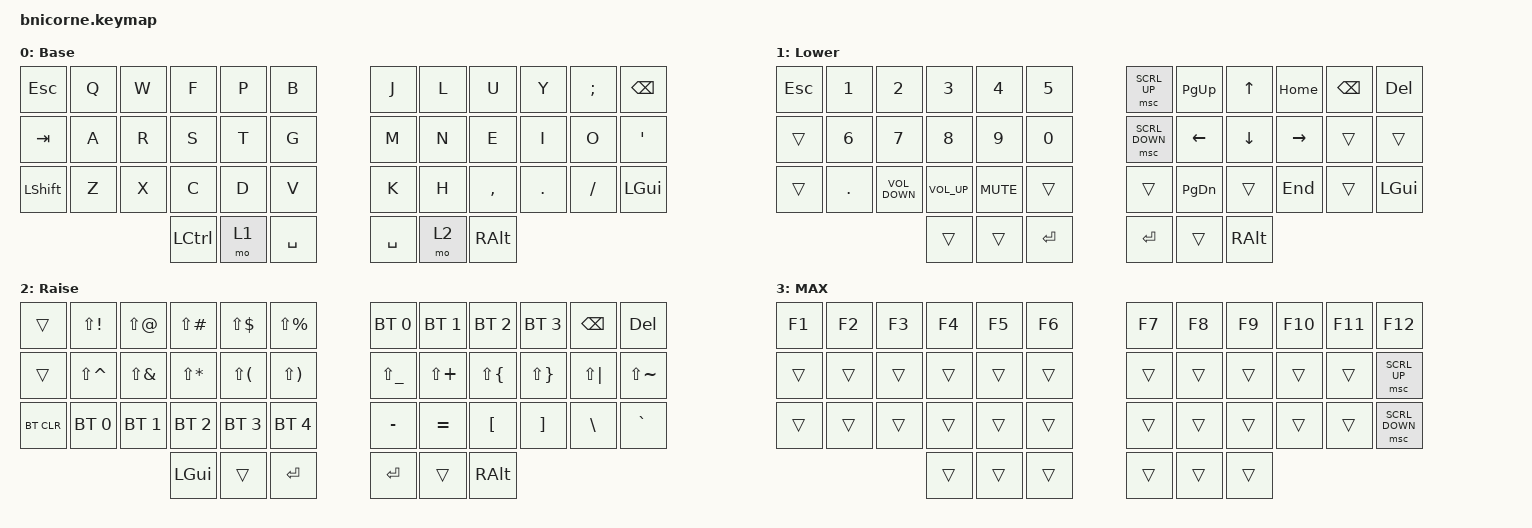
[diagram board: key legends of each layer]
/*
 * Copyright (c) 2020 The ZMK Contributors
 *
 * SPDX-License-Identifier: MIT
 */

#include <behaviors.dtsi>
#include <dt-bindings/zmk/bt.h>
#include <dt-bindings/zmk/keys.h>
#include <dt-bindings/zmk/pointing.h>

/ {
    /* This block enables Lower + Raise = Max_Layer automatically */
    conditional_layers {
        compatible = "zmk,conditional-layers";
        tri_layer {
            if-layers = <1 2>;
            then-layer = <3>;
        };
    };

    keymap {
        compatible = "zmk,keymap";

        default_layer {
            display-name = "Base";
            bindings = <
&kp ESC    &kp Q  &kp W  &kp F             &kp P  &kp B        &kp J      &kp L  &kp U      &kp Y    &kp SEMI  &kp BSPC
&kp TAB    &kp A  &kp R  &kp S             &kp T  &kp G        &kp M      &kp N  &kp E      &kp I    &kp O     &kp SQT
&kp LSHFT  &kp Z  &kp X  &kp C             &kp D  &kp V        &kp K      &kp H  &kp COMMA  &kp DOT  &kp FSLH  &kp LGUI
                         &kp LEFT_CONTROL  &mo 1  &kp SPACE    &kp SPACE  &mo 2  &kp RALT
            >;
        };

        lower_layer {
            display-name = "Lower";
            bindings = <
&kp ESC  &kp N1   &kp N2             &kp N3            &kp N4       &kp N5       &msc SCRL_UP    &kp PG_UP  &kp UP    &kp HOME   &kp BSPC  &kp DEL
&trans   &kp N6   &kp N7             &kp N8            &kp N9       &kp N0       &msc SCRL_DOWN  &kp LEFT   &kp DOWN  &kp RIGHT  &trans    &trans
&trans   &kp DOT  &kp C_VOLUME_DOWN  &kp C_VOLUME_UP   &kp K_MUTE   &trans       &trans          &kp PG_DN  &trans    &kp END    &trans    &kp LEFT_GUI
                                     &trans            &trans       &kp ENTER    &kp RET         &trans     &kp RALT
            >;
        };

        raise_layer {
            display-name = "Raise";
            bindings = <
&trans      &kp LS(EXCL)   &kp LS(AT)    &kp LS(POUND)  &kp LS(DLLR)  &kp LS(PRCNT)    &bt BT_SEL 0   &bt BT_SEL 1  &bt BT_SEL 2  &bt BT_SEL 3  &kp BSPC      &kp DEL
&trans      &kp LS(CARET)  &kp LS(AMPS)  &kp LS(STAR)   &kp LS(LPAR)  &kp LS(RPAR)     &kp LS(UNDER)  &kp LS(PLUS)  &kp LS(LBRC)  &kp LS(RBRC)  &kp LS(PIPE)  &kp LS(TILDE)
&bt BT_CLR  &bt BT_SEL 0   &bt BT_SEL 1  &bt BT_SEL 2   &bt BT_SEL 3  &bt BT_SEL 4     &kp MINUS      &kp EQUAL     &kp LBKT      &kp RBKT      &kp BSLH      &kp GRAVE
                                         &kp LGUI       &trans        &kp RET          &kp RET        &trans        &kp RALT
            >;
        };

        max_Layer {
            display-name = "MAX";
            bindings = <
&kp F1  &kp F2  &kp F3  &kp F4  &kp F5  &kp F6    &kp F7  &kp F8  &kp F9  &kp F10  &kp F11  &kp F12
&trans  &trans  &trans  &trans  &trans  &trans    &trans  &trans  &trans  &trans   &trans   &msc SCRL_UP
&trans  &trans  &trans  &trans  &trans  &trans    &trans  &trans  &trans  &trans   &trans   &msc SCRL_DOWN
                        &trans  &trans  &trans    &trans  &trans  &trans
            >;
        };

        /* These "Reserved" layers bypass the Kconfig error by forcing memory allocation */
        reserved_4 {
            status = "reserved";
        };

        reserved_5 {
            status = "reserved";
        };
    };
};
